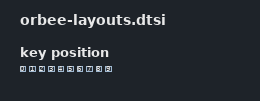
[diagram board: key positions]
#include <physical_layouts.dtsi>

/ {
    orbee_r_layout: orbee_r_layout {
        compatible = "zmk,physical-layout";
        display-name = "Orbee Right";

        keys = 
        // 1行目
        <&key_physical_attrs 19 19 0   0 0 0 0>   // Q
      , <&key_physical_attrs 19 19 19  0 0 0 0>  // W
      , <&key_physical_attrs 19 19 38  0 0 0 0>  // E
      , <&key_physical_attrs 19 19 57  0 0 0 0>  // R
      , <&key_physical_attrs 19 19 76  0 0 0 0>  // T
      , <&key_physical_attrs 19 19 95  0 0 0 0>  // Y
      , <&key_physical_attrs 19 19 114 0 0 0 0>  // U
      , <&key_physical_attrs 19 19 133 0 0 0 0>  // I
      , <&key_physical_attrs 19 19 152 0 0 0 0>  // O
      , <&key_physical_attrs 19 19 171 0 0 0 0>; // P

        // 2行目
        <&key_physical_attrs 19 19 0   19 0 0 0>   // A
      , <&key_physical_attrs 19 19 19  19 0 0 0>  // S
      , <&key_physical_attrs 19 19 38  19 0 0 0>  // D
      , <&key_physical_attrs 19 19 57  19 0 0 0>  // F
      , <&key_physical_attrs 19 19 76  19 0 0 0>  // G
      , <&key_physical_attrs 19 19 95  19 0 0 0>  // EQUAL
      , <&key_physical_attrs 19 19 114 19 0 0 0>  // MINUS
      , <&key_physical_attrs 19 19 133 19 0 0 0>  // H
      , <&key_physical_attrs 19 19 152 19 0 0 0>  // J
      , <&key_physical_attrs 19 19 171 19 0 0 0>  // K
      , <&key_physical_attrs 19 19 190 19 0 0 0>  // L
      , <&key_physical_attrs 19 19 209 19 0 0 0>; // SQT

        // 3行目
        <&key_physical_attrs 19 19 0   38 0 0 0>   // SHIFT+Z
      , <&key_physical_attrs 19 19 19  38 0 0 0>  // X
      , <&key_physical_attrs 19 19 38  38 0 0 0>  // C
      , <&key_physical_attrs 19 19 57  38 0 0 0>  // V
      , <&key_physical_attrs 19 19 76  38 0 0 0>  // B
      , <&key_physical_attrs 19 19 95  38 0 0 0>  // COLON
      , <&key_physical_attrs 19 19 114 38 0 0 0>  // SEMICOLON
      , <&key_physical_attrs 19 19 133 38 0 0 0>  // N
      , <&key_physical_attrs 19 19 152 38 0 0 0>  // M
      , <&key_physical_attrs 19 19 171 38 0 0 0>  // COMMA
      , <&key_physical_attrs 19 19 190 38 0 0 0>  // DOT
      , <&key_physical_attrs 19 19 209 38 0 0 0>; // SLASH

        // 4行目
        <&key_physical_attrs 19 19 0   57 0 0 0>   // LCTRL
      , <&key_physical_attrs 19 19 19  57 0 0 0>  // LEFT_WIN
      , <&key_physical_attrs 19 19 38  57 0 0 0>  // LEFT_ALT
      , <&key_physical_attrs 19 19 57  57 0 0 0>  // INT_HENKAN
      , <&key_physical_attrs 19 19 76  57 0 0 0>  // SPACE
      , <&key_physical_attrs 19 19 95  57 0 0 0>  // INT_MUHENKAN
      , <&key_physical_attrs 19 19 114 57 0 0 0>  // BACKSPACE
      , <&key_physical_attrs 19 19 133 57 0 0 0>  // ENTER
      , <&key_physical_attrs 19 19 152 57 0 0 0>; // DEL
    };
};
